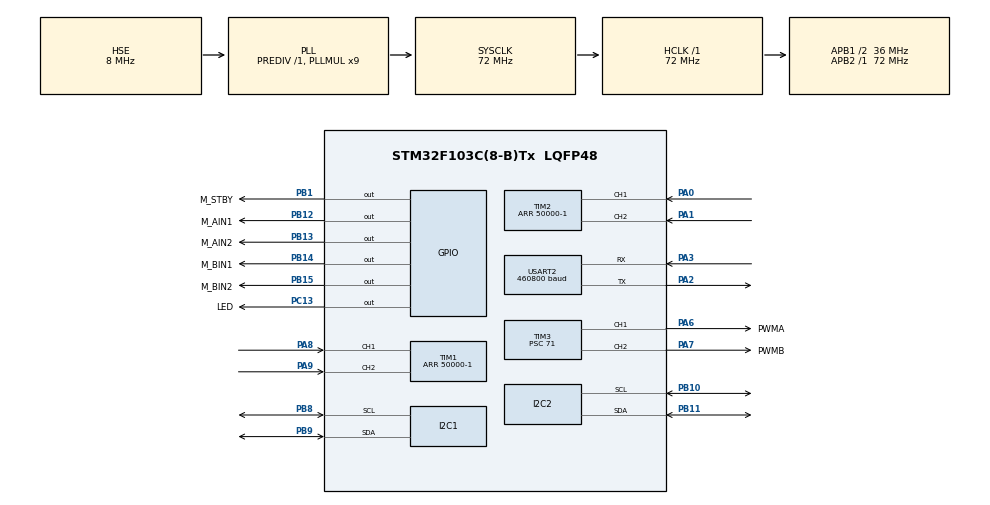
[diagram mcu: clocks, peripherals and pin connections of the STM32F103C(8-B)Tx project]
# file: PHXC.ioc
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I2C1.I2C_Mode=I2C_Fast
I2C2.I2C_Mode=I2C_Fast
Mcu.Family=STM32F1
Mcu.Name=STM32F103C(8-B)Tx
Mcu.Package=LQFP48
NVIC.PriorityGroup=NVIC_PRIORITYGROUP_4
NVIC.TIM3_IRQn=true\:6\:0\:true\:false\:true\:true\:true\:true
NVIC.USART2_IRQn=true\:7\:0\:true\:false\:true\:true\:true\:true
PA0-WKUP.Signal=S_TIM2_CH1_ETR
PA1.Signal=S_TIM2_CH2
PA13.Mode=Serial_Wire
PA13.Signal=SYS_JTMS-SWDIO
PA14.Mode=Serial_Wire
PA14.Signal=SYS_JTCK-SWCLK
PA2.Mode=Asynchronous
PA2.Signal=USART2_TX
PA3.Mode=Asynchronous
PA3.Signal=USART2_RX
PA6.GPIO_Label=PWMA
PA6.GPIO_Speed=GPIO_SPEED_FREQ_HIGH
PA6.Signal=S_TIM3_CH1
PA7.GPIO_Label=PWMB
PA7.GPIO_Speed=GPIO_SPEED_FREQ_HIGH
PA7.Signal=S_TIM3_CH2
PA8.Signal=S_TIM1_CH1
PA9.Signal=S_TIM1_CH2
PB1.GPIO_Label=M_STBY
PB1.GPIO_PuPd=GPIO_PULLDOWN
PB1.GPIO_Speed=GPIO_SPEED_FREQ_HIGH
PB1.Signal=GPIO_Output
PB10.Mode=I2C
PB10.Signal=I2C2_SCL
PB11.Mode=I2C
PB11.Signal=I2C2_SDA
PB12.GPIO_Label=M_AIN1
PB12.GPIO_PuPd=GPIO_PULLDOWN
PB12.GPIO_Speed=GPIO_SPEED_FREQ_HIGH
PB12.Signal=GPIO_Output
PB13.GPIO_Label=M_AIN2
PB13.GPIO_PuPd=GPIO_PULLDOWN
PB13.GPIO_Speed=GPIO_SPEED_FREQ_HIGH
PB13.Signal=GPIO_Output
PB14.GPIO_Label=M_BIN1
PB14.GPIO_PuPd=GPIO_PULLDOWN
PB14.GPIO_Speed=GPIO_SPEED_FREQ_HIGH
PB14.Signal=GPIO_Output
PB15.GPIO_Label=M_BIN2
PB15.GPIO_PuPd=GPIO_PULLDOWN
PB15.GPIO_Speed=GPIO_SPEED_FREQ_HIGH
PB15.Signal=GPIO_Output
PB8.Mode=I2C
PB8.Signal=I2C1_SCL
PB9.Mode=I2C
PB9.Signal=I2C1_SDA
PC13-TAMPER-RTC.GPIO_Label=LED
PC13-TAMPER-RTC.GPIO_PuPd=GPIO_PULLDOWN
PC13-TAMPER-RTC.GPIO_Speed=GPIO_SPEED_FREQ_HIGH
PC13-TAMPER-RTC.Signal=GPIO_Output
PC14-OSC32_IN.Mode=LSE-External-Oscillator
PC14-OSC32_IN.Signal=RCC_OSC32_IN
PC15-OSC32_OUT.Mode=LSE-External-Oscillator
PC15-OSC32_OUT.Signal=RCC_OSC32_OUT
PD0-OSC_IN.Mode=HSE-External-Oscillator
PD0-OSC_IN.Signal=RCC_OSC_IN
PD1-OSC_OUT.Mode=HSE-External-Oscillator
PD1-OSC_OUT.Signal=RCC_OSC_OUT
ProjectManager.HeapSize=0x200
ProjectManager.StackSize=0x1000
ProjectManager.TargetToolchain=MDK-ARM V5.32
RCC.AHBFreq_Value=72000000
RCC.APB1CLKDivider=RCC_HCLK_DIV2
RCC.APB1Freq_Value=36000000
RCC.APB1TimFreq_Value=72000000
RCC.APB2Freq_Value=72000000
RCC.APB2TimFreq_Value=72000000
RCC.HCLKFreq_Value=72000000
RCC.PLLMUL=RCC_PLL_MUL9
RCC.PLLSourceVirtual=RCC_PLLSOURCE_HSE
RCC.SYSCLKFreq_VALUE=72000000
RCC.SYSCLKSource=RCC_SYSCLKSOURCE_PLLCLK
RCC.USBFreq_Value=48000000
RCC.USBPrescaler=RCC_USBCLKSOURCE_PLL_DIV1_5
SH.S_TIM1_CH1.0=TIM1_CH1,Encoder_Interface
SH.S_TIM1_CH2.0=TIM1_CH2,Encoder_Interface
SH.S_TIM2_CH1_ETR.0=TIM2_CH1,Encoder_Interface
SH.S_TIM2_CH2.0=TIM2_CH2,Encoder_Interface
SH.S_TIM3_CH1.0=TIM3_CH1,PWM Generation1 CH1
SH.S_TIM3_CH2.0=TIM3_CH2,PWM Generation2 CH2
TIM1.EncoderMode=TIM_ENCODERMODE_TI12
TIM1.Period=50000-1
TIM2.EncoderMode=TIM_ENCODERMODE_TI12
TIM2.Period=50000-1
TIM3.AutoReloadPreload=TIM_AUTORELOAD_PRELOAD_ENABLE
TIM3.Channel-PWM\ Generation1\ CH1=TIM_CHANNEL_1
TIM3.Channel-PWM\ Generation2\ CH2=TIM_CHANNEL_2
TIM3.Period=4999
TIM3.Prescaler=71
USART2.BaudRate=460800
USART2.VirtualMode=VM_ASYNC
VP_TIM3_VS_ClockSourceINT.Mode=Internal
board=custom

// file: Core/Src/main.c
/* USER CODE BEGIN Header */
/**
 ******************************************************************************
 * @file           : main.c
 * @brief          : Main program body
 ******************************************************************************
 * @attention
 *
 * Copyright (c) 2023 STMicroelectronics.
 * All rights reserved.
 *
 * This software is licensed under terms that can be found in the LICENSE file
 * in the root directory of this software component.
 * If no LICENSE file comes with this software, it is provided AS-IS.
 *
 ******************************************************************************
 */
/* USER CODE END Header */
#include "main.h"
#include "i2c.h"
#include "tim.h"
#include "usart.h"
#include "gpio.h"

/* USER CODE BEGIN Includes */
#include "Motor.h"

#include "imu.h"
#include "MPU6050.h"
#include "PID.h"
#include "debug.h"
#include "stdio.h"
#include "OLED.h"
/* USER CODE END Includes */

/* USER CODE BEGIN PTD */
extern Motor m1;
extern Motor m2;
extern _imu_dev dev;

/* USER CODE END PTD */

void SystemClock_Config(void);
/* USER CODE BEGIN PFP */
char str[28];
/* USER CODE END PFP */

int main(void)
{

  /* MCU Configuration--------------------------------------------------------*/

  /* Reset of all peripherals, Initializes the Flash interface and the Systick. */
  HAL_Init();

  /* Configure the system clock */
  SystemClock_Config();

  /* Initialize all configured peripherals */
  MX_GPIO_Init();
  MX_TIM1_Init();
  MX_TIM2_Init();
  MX_TIM3_Init();
  MX_I2C2_Init();
  MX_I2C1_Init();
  MX_USART2_UART_Init();
  /* USER CODE BEGIN 2 */
  PID_Init();

  MPU_Init();
  Motor_Init();
  HAL_Delay(100);
  OLED_Init();
  OLED_Clear();
  HAL_GPIO_TogglePin(LED_GPIO_Port, LED_Pin);
  OLED_DrawLine(1, 1, 2, 20);
  // OLED_ShowChar(1,2,'b',16);
  //printf("hello !\n");
  /* USER CODE END 2 */

  /* Infinite loop */
  while (1)
  {

    /* USER CODE BEGIN 3 */
		//OLED_Clear();
    HAL_Delay(50);
    HAL_GPIO_TogglePin(LED_GPIO_Port, LED_Pin);
    //printf("hello !\n");
    sprintf(str, "roll:%3.2f", dev.roll);
    OLED_ShowString(0, 0, str, sizeof(str));
    sprintf(str,"output:%5d",output);
    OLED_ShowString(0, 1, str, sizeof(str));
    // myReport_Euler(dev.roll * 100, dev.pitch * 100, dev.yaw * 100, 0x03);
     myReport_PWM(output,pid_p.ori_output,dev.roll*100,pid_p.kp,0xf1);
    // myReport_PWM(output,pid_v.ori_output,dev.roll*100,0xf2);
  }
  /* USER CODE END 3 */
}

void SystemClock_Config(void)
{
  RCC_OscInitTypeDef RCC_OscInitStruct = {0};
  RCC_ClkInitTypeDef RCC_ClkInitStruct = {0};

  /** Initializes the RCC Oscillators according to the specified parameters
  * in the RCC_OscInitTypeDef structure.
  */
  RCC_OscInitStruct.OscillatorType = RCC_OSCILLATORTYPE_HSE;
  RCC_OscInitStruct.HSEState = RCC_HSE_ON;
  RCC_OscInitStruct.HSEPredivValue = RCC_HSE_PREDIV_DIV1;
  RCC_OscInitStruct.HSIState = RCC_HSI_ON;
  RCC_OscInitStruct.PLL.PLLState = RCC_PLL_ON;
  RCC_OscInitStruct.PLL.PLLSource = RCC_PLLSOURCE_HSE;
  RCC_OscInitStruct.PLL.PLLMUL = RCC_PLL_MUL9;
  if (HAL_RCC_OscConfig(&RCC_OscInitStruct) != HAL_OK)
  {
    Error_Handler();
  }

  /** Initializes the CPU, AHB and APB buses clocks
  */
  RCC_ClkInitStruct.ClockType = RCC_CLOCKTYPE_HCLK|RCC_CLOCKTYPE_SYSCLK
                              |RCC_CLOCKTYPE_PCLK1|RCC_CLOCKTYPE_PCLK2;
  RCC_ClkInitStruct.SYSCLKSource = RCC_SYSCLKSOURCE_PLLCLK;
  RCC_ClkInitStruct.AHBCLKDivider = RCC_SYSCLK_DIV1;
  RCC_ClkInitStruct.APB1CLKDivider = RCC_HCLK_DIV2;
  RCC_ClkInitStruct.APB2CLKDivider = RCC_HCLK_DIV1;

  if (HAL_RCC_ClockConfig(&RCC_ClkInitStruct, FLASH_LATENCY_2) != HAL_OK)
  {
    Error_Handler();
  }
}

void Error_Handler(void)
{
  __disable_irq();
  while (1)
  {
  }
}
